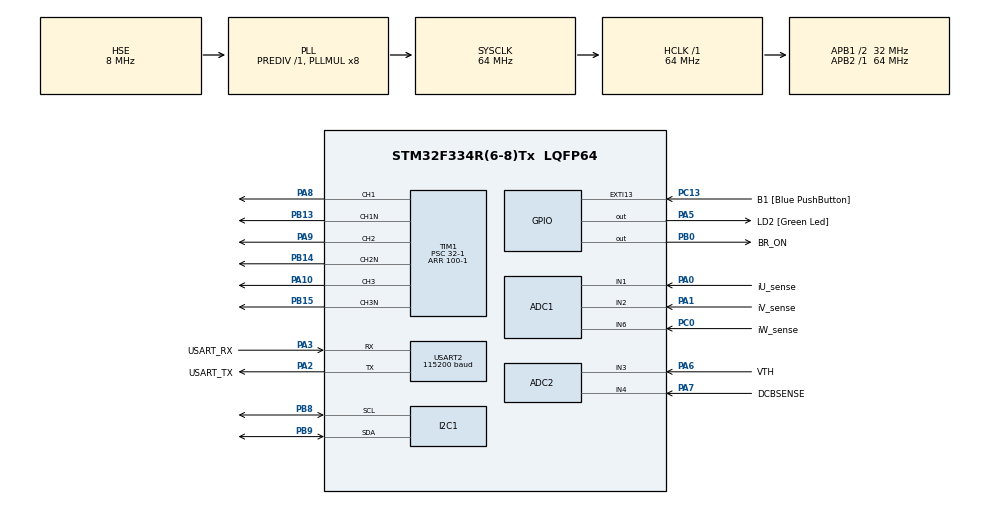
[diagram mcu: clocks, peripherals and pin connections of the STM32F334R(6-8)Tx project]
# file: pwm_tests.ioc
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ADC1.Channel-0\#ChannelRegularConversion=ADC_CHANNEL_1
ADC1.Channel-1\#ChannelRegularConversion=ADC_CHANNEL_2
ADC1.Channel-2\#ChannelRegularConversion=ADC_CHANNEL_6
ADC1.ClockPrescaler=ADC_CLOCK_SYNC_PCLK_DIV2
ADC1.ContinuousConvMode=ENABLE
ADC1.DMAContinuousRequests=ENABLE
ADC1.NbrOfConversion=3
ADC1.NbrOfConversionFlag=1
ADC1.Offset-0\#ChannelRegularConversion=0
ADC1.Offset-1\#ChannelRegularConversion=0
ADC1.Offset-2\#ChannelRegularConversion=0
ADC1.OffsetNumber-0\#ChannelRegularConversion=ADC_OFFSET_NONE
ADC1.OffsetNumber-1\#ChannelRegularConversion=ADC_OFFSET_NONE
ADC1.OffsetNumber-2\#ChannelRegularConversion=ADC_OFFSET_NONE
ADC1.Rank-0\#ChannelRegularConversion=1
ADC1.Rank-1\#ChannelRegularConversion=2
ADC1.Rank-2\#ChannelRegularConversion=3
ADC1.SamplingTime-0\#ChannelRegularConversion=ADC_SAMPLETIME_601CYCLES_5
ADC1.SamplingTime-1\#ChannelRegularConversion=ADC_SAMPLETIME_601CYCLES_5
ADC1.SamplingTime-2\#ChannelRegularConversion=ADC_SAMPLETIME_601CYCLES_5
ADC1.SequencerNbRanks=1
ADC1.SubFamily=STM32F334x8
ADC1.master=1
ADC2.Channel-1\#ChannelRegularConversion=ADC_CHANNEL_3
ADC2.Channel-2\#ChannelRegularConversion=ADC_CHANNEL_4
ADC2.ClockPrescaler=ADC_CLOCK_SYNC_PCLK_DIV2
ADC2.ContinuousConvMode=ENABLE
ADC2.DMAContinuousRequests=DISABLE
ADC2.NbrOfConversion=2
ADC2.NbrOfConversionFlag=1
ADC2.Offset-1\#ChannelRegularConversion=0
ADC2.Offset-2\#ChannelRegularConversion=0
ADC2.OffsetNumber-1\#ChannelRegularConversion=ADC_OFFSET_NONE
ADC2.OffsetNumber-2\#ChannelRegularConversion=ADC_OFFSET_NONE
ADC2.Rank-1\#ChannelRegularConversion=1
ADC2.Rank-2\#ChannelRegularConversion=2
ADC2.SamplingTime-1\#ChannelRegularConversion=ADC_SAMPLETIME_601CYCLES_5
ADC2.SamplingTime-2\#ChannelRegularConversion=ADC_SAMPLETIME_601CYCLES_5
ADC2.SamplingTimeOPAMP-2\#ChannelRegularConversion=ADC_SAMPLETIME_61CYCLES_5
ADC2.SubFamily=STM32F334x8
Dma.ADC1.3.Direction=DMA_PERIPH_TO_MEMORY
Dma.ADC1.3.Instance=DMA1_Channel1
Dma.ADC1.3.MemDataAlignment=DMA_MDATAALIGN_HALFWORD
Dma.ADC1.3.MemInc=DMA_MINC_ENABLE
Dma.ADC1.3.Mode=DMA_CIRCULAR
Dma.ADC1.3.PeriphDataAlignment=DMA_PDATAALIGN_HALFWORD
Dma.ADC1.3.PeriphInc=DMA_PINC_DISABLE
Dma.ADC1.3.Priority=DMA_PRIORITY_LOW
Dma.I2C1_RX.4.Direction=DMA_PERIPH_TO_MEMORY
Dma.I2C1_RX.4.Instance=DMA1_Channel5
Dma.I2C1_RX.4.MemDataAlignment=DMA_MDATAALIGN_BYTE
Dma.I2C1_RX.4.MemInc=DMA_MINC_ENABLE
Dma.I2C1_RX.4.Mode=DMA_NORMAL
Dma.I2C1_RX.4.PeriphDataAlignment=DMA_PDATAALIGN_BYTE
Dma.I2C1_RX.4.PeriphInc=DMA_PINC_DISABLE
Dma.I2C1_RX.4.Priority=DMA_PRIORITY_LOW
Dma.I2C1_TX.5.Direction=DMA_MEMORY_TO_PERIPH
Dma.I2C1_TX.5.Instance=DMA1_Channel4
Dma.I2C1_TX.5.MemDataAlignment=DMA_MDATAALIGN_BYTE
Dma.I2C1_TX.5.MemInc=DMA_MINC_ENABLE
Dma.I2C1_TX.5.Mode=DMA_NORMAL
Dma.I2C1_TX.5.PeriphDataAlignment=DMA_PDATAALIGN_BYTE
Dma.I2C1_TX.5.PeriphInc=DMA_PINC_DISABLE
Dma.I2C1_TX.5.Priority=DMA_PRIORITY_LOW
Dma.Request0=TIM1_CH1
Dma.Request1=TIM1_CH2
Dma.Request2=TIM1_CH3
Dma.Request3=ADC1
Dma.Request4=I2C1_RX
Dma.Request5=I2C1_TX
Dma.TIM1_CH1.0.Direction=DMA_MEMORY_TO_PERIPH
Dma.TIM1_CH1.0.Instance=DMA1_Channel2
Dma.TIM1_CH1.0.MemDataAlignment=DMA_MDATAALIGN_HALFWORD
Dma.TIM1_CH1.0.MemInc=DMA_MINC_ENABLE
Dma.TIM1_CH1.0.Mode=DMA_CIRCULAR
Dma.TIM1_CH1.0.PeriphDataAlignment=DMA_PDATAALIGN_HALFWORD
Dma.TIM1_CH1.0.PeriphInc=DMA_PINC_DISABLE
Dma.TIM1_CH1.0.Priority=DMA_PRIORITY_VERY_HIGH
Dma.TIM1_CH2.1.Direction=DMA_MEMORY_TO_PERIPH
Dma.TIM1_CH2.1.Instance=DMA1_Channel3
Dma.TIM1_CH2.1.MemDataAlignment=DMA_MDATAALIGN_HALFWORD
Dma.TIM1_CH2.1.MemInc=DMA_MINC_ENABLE
Dma.TIM1_CH2.1.Mode=DMA_CIRCULAR
Dma.TIM1_CH2.1.PeriphDataAlignment=DMA_PDATAALIGN_HALFWORD
Dma.TIM1_CH2.1.PeriphInc=DMA_PINC_DISABLE
Dma.TIM1_CH2.1.Priority=DMA_PRIORITY_VERY_HIGH
Dma.TIM1_CH3.2.Direction=DMA_MEMORY_TO_PERIPH
Dma.TIM1_CH3.2.Instance=DMA1_Channel6
Dma.TIM1_CH3.2.MemDataAlignment=DMA_MDATAALIGN_HALFWORD
Dma.TIM1_CH3.2.MemInc=DMA_MINC_ENABLE
Dma.TIM1_CH3.2.Mode=DMA_CIRCULAR
Dma.TIM1_CH3.2.PeriphDataAlignment=DMA_PDATAALIGN_HALFWORD
Dma.TIM1_CH3.2.PeriphInc=DMA_PINC_DISABLE
Dma.TIM1_CH3.2.Priority=DMA_PRIORITY_VERY_HIGH
I2C1.OwnAddress=0x07
Mcu.Family=STM32F3
Mcu.Name=STM32F334R(6-8)Tx
Mcu.Package=LQFP64
NVIC.DMA1_Channel1_IRQn=true\:0\:0\:false\:false\:true\:false\:true
NVIC.DMA1_Channel2_IRQn=true\:0\:0\:false\:false\:true\:false\:true
NVIC.DMA1_Channel3_IRQn=true\:0\:0\:false\:false\:true\:false\:true
NVIC.DMA1_Channel4_IRQn=true\:0\:0\:false\:false\:true\:false\:true
NVIC.DMA1_Channel5_IRQn=true\:0\:0\:false\:false\:true\:false\:true
NVIC.DMA1_Channel6_IRQn=true\:0\:0\:false\:false\:true\:false\:true
NVIC.FPU_IRQn=true\:0\:0\:false\:false\:true\:true\:false
NVIC.I2C1_EV_IRQn=true\:0\:0\:false\:false\:true\:true\:true
NVIC.PriorityGroup=NVIC_PRIORITYGROUP_0
PA0.GPIO_Label=iU_sense
PA0.Mode=IN1-Single-Ended
PA0.Signal=ADC1_IN1
PA1.GPIO_Label=iV_sense
PA1.Mode=IN2-Single-Ended
PA1.Signal=ADC1_IN2
PA10.Signal=S_TIM1_CH3
PA13.GPIO_Label=TMS
PA13.Mode=Serial_Wire
PA13.Signal=SYS_JTMS-SWDIO
PA14.GPIO_Label=TCK
PA14.Mode=Serial_Wire
PA14.Signal=SYS_JTCK-SWCLK
PA2.GPIO_Label=USART_TX
PA2.Mode=Asynchronous
PA2.Signal=USART2_TX
PA3.GPIO_Label=USART_RX
PA3.Mode=Asynchronous
PA3.Signal=USART2_RX
PA5.GPIO_Label=LD2 [Green Led]
PA5.Signal=GPIO_Output
PA6.GPIO_Label=VTH
PA6.Mode=IN3-Single-Ended
PA6.Signal=ADC2_IN3
PA7.GPIO_Label=DCBSENSE
PA7.Mode=IN4-Single-Ended
PA7.Signal=ADC2_IN4
PA8.Signal=S_TIM1_CH1
PA9.Signal=S_TIM1_CH2
PB0.GPIO_Label=BR_ON
PB0.GPIO_PuPd=GPIO_NOPULL
PB0.Signal=GPIO_Output
PB13.Mode=PWM Generation1 CH1 CH1N
PB13.Signal=TIM1_CH1N
PB14.Mode=PWM Generation2 CH2 CH2N
PB14.Signal=TIM1_CH2N
PB15.Mode=PWM Generation3 CH3 CH3N
PB15.Signal=TIM1_CH3N
PB3.GPIO_Label=SWO
PB3.Signal=SYS_JTDO-TRACESWO
PB8.Mode=I2C
PB8.Signal=I2C1_SCL
PB9.Mode=I2C
PB9.Signal=I2C1_SDA
PC0.GPIO_Label=iW_sense
PC0.Signal=ADCx_IN6
PC13.GPIO_Label=B1 [Blue PushButton]
PC13.GPIO_ModeDefaultEXTI=GPIO_MODE_IT_FALLING
PC13.Signal=GPXTI13
PC14\ /\ OSC32_IN.Mode=LSE-External-Clock-Source
PC14\ /\ OSC32_IN.Signal=RCC_OSC32_IN
PC15\ /\ OSC32_OUT.GPIO_Label=RCC_OSC32_OUT
PC15\ /\ OSC32_OUT.Signal=RCC_OSC32_OUT
PF0\ /\ OSC_IN.Mode=HSE-External-Oscillator
PF0\ /\ OSC_IN.Signal=RCC_OSC_IN
PF1\ /\ OSC_OUT.Mode=HSE-External-Oscillator
PF1\ /\ OSC_OUT.Signal=RCC_OSC_OUT
ProjectManager.HeapSize=0x200
ProjectManager.StackSize=0x400
ProjectManager.TargetToolchain=STM32CubeIDE
RCC.AHBFreq_Value=64000000
RCC.APB1CLKDivider=RCC_HCLK_DIV2
RCC.APB1Freq_Value=32000000
RCC.APB1TimFreq_Value=64000000
RCC.APB2Freq_Value=64000000
RCC.APB2TimFreq_Value=64000000
RCC.CortexFreq_Value=64000000
RCC.EnbaleCSS=true
RCC.FLatency-AdvancedSettings=FLASH_LATENCY_2
RCC.HCLKFreq_Value=64000000
RCC.HSE_VALUE=8000000
RCC.HSI_VALUE=8000000
RCC.LSE_VALUE=32768
RCC.PLLMUL=RCC_PLL_MUL8
RCC.PLLSourceVirtual=RCC_PLLSOURCE_HSE
RCC.SYSCLKFreq_VALUE=64000000
RCC.SYSCLKSourceVirtual=RCC_SYSCLKSOURCE_PLLCLK
SH.ADCx_IN6.0=ADC1_IN6,IN6-Single-Ended
SH.S_TIM1_CH1.0=TIM1_CH1,PWM Generation1 CH1 CH1N
SH.S_TIM1_CH2.0=TIM1_CH2,PWM Generation2 CH2 CH2N
SH.S_TIM1_CH3.0=TIM1_CH3,PWM Generation3 CH3 CH3N
TIM1.Channel-PWM\ Generation1\ CH1\ CH1N=TIM_CHANNEL_1
TIM1.Channel-PWM\ Generation2\ CH2\ CH2N=TIM_CHANNEL_2
TIM1.Channel-PWM\ Generation3\ CH3\ CH3N=TIM_CHANNEL_3
TIM1.Period=100-1
TIM1.Prescaler=32-1
USART2.BaudRate=115200
USART2.VirtualMode-Asynchronous=VM_ASYNC
VP_TIM1_VS_ClockSourceINT.Mode=Internal
board=NUCLEO-F334R8

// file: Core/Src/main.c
/* USER CODE BEGIN Header */
/**
  ******************************************************************************
  * @file           : main.c
  * @brief          : Main program body
  ******************************************************************************
  * @attention
  *
  * <h2><center>&copy; Copyright (c) 2021 STMicroelectronics.
  * All rights reserved.</center></h2>
  *
  * This software component is licensed by ST under BSD 3-Clause license,
  * the "License"; You may not use this file except in compliance with the
  * License. You may obtain a copy of the License at:
  *                        opensource.org/licenses/BSD-3-Clause
  *
  ******************************************************************************
  */
/* USER CODE END Header */
#include "main.h"

/* USER CODE BEGIN Includes */
#include <pwm_generator.h>
#include "state_control.h"
#include "slave_i2c.h"

#include <string.h>
#include <stdio.h>

/* USER CODE END Includes */

/* USER CODE BEGIN PD */
#define ADC_BUF_CURRSENSE_LEN 1000
#define ADC_BUF_DIAGS_LEN 100
#define ADC1_CHANNELS 3			//number of enabled channels ADC1
#define ADC2_CHANNELS 2			//number of enabled channels ADC2

#define iU_CHANNEL 0		//ADC1 - Rank1 buffer channel 1
#define iV_CHANNEL 1		//ADC1 - Rank2 buffer channel 2
#define iW_CHANNEL 2		//ADC1 - Rank3 buffer channel 6

#define VTH_CHANNEL 0		//ADC2 - Rank1 buffer channel 3
#define DCBSENSE_CHANNEL 1	//ADC2 - Rank2 buffer channel 4

/* USER CODE END PD */

ADC_HandleTypeDef hadc1;
ADC_HandleTypeDef hadc2;
DMA_HandleTypeDef hdma_adc1;

I2C_HandleTypeDef hi2c1;
DMA_HandleTypeDef hdma_i2c1_rx;
DMA_HandleTypeDef hdma_i2c1_tx;

TIM_HandleTypeDef htim1;
DMA_HandleTypeDef hdma_tim1_ch1;
DMA_HandleTypeDef hdma_tim1_ch2;
DMA_HandleTypeDef hdma_tim1_ch3;

UART_HandleTypeDef huart2;

/* USER CODE BEGIN PV */

uint16_t pmw_1_data[10];
uint16_t pmw_2_data[10];

uint16_t adc1_buffer[ADC1_CHANNELS * ADC_BUF_CURRSENSE_LEN];
uint16_t adc2_buffer[ADC2_CHANNELS * ADC_BUF_DIAGS_LEN];

uint16_t iU, iV, iW = 0;
uint16_t VTH, DCBSENSE = 0;

uint8_t i2c_data2receive[16];
uint8_t i2c_data2send[16];

uint8_t buffer[32];
uint8_t data2receive[16];
uint8_t data2send[16];

/* USER CODE END PV */

void SystemClock_Config(void);
static void MX_GPIO_Init(void);
static void MX_USART2_UART_Init(void);
static void MX_DMA_Init(void);
static void MX_TIM1_Init(void);
static void MX_ADC1_Init(void);
static void MX_ADC2_Init(void);
static void MX_I2C1_Init(void);

int main(void)
{

  /* MCU Configuration--------------------------------------------------------*/

  /* Reset of all peripherals, Initializes the Flash interface and the Systick. */
  HAL_Init();

  /* Configure the system clock */
  SystemClock_Config();

  /* Initialize all configured peripherals */
  MX_GPIO_Init();
  MX_USART2_UART_Init();
  MX_DMA_Init();
  MX_TIM1_Init();
  MX_ADC1_Init();
  MX_ADC2_Init();
  MX_I2C1_Init();
  /* USER CODE BEGIN 2 */

//  HAL_GPIO_WritePin(GPIOC, GPIO_PIN_6, GPIO_PIN_SET);

  //Sent init msg uart
  strcpy((char*)buffer, "INIT PWM CONTROLLER\r\n");
  HAL_UART_Transmit(&huart2, buffer, strlen((char*)buffer), HAL_MAX_DELAY);

  /* NORMAL PWM timer start		BEGIN */
//	HAL_TIM_PWM_Start_IT(&htim1, TIM_CHANNEL_1);
//	HAL_TIM_PWM_Start_IT(&htim1, TIM_CHANNEL_2);
//	HAL_TIM_PWM_Start_IT(&htim1, TIM_CHANNEL_3);
//	HAL_TIMEx_PWMN_Start_IT(&htim1, TIM_CHANNEL_1);
//	HAL_TIMEx_PWMN_Start_IT(&htim1, TIM_CHANNEL_2);
//	HAL_TIMEx_PWMN_Start_IT(&htim1, TIM_CHANNEL_3);

//	TIM1->CCR1 = 40;
//	TIM1->CCR2 = 60;
//	TIM1->CCR3 = 80;
  /* NORMAL PWM timer start		END */

  /*DMA PWM setup
   * 1 - fill up PWM array
   * 2 - start the TIM-DMA-PWM --> primary output
   * 3 - start the TIM-PWM --> complementary output */

  //fill up PWM arrays
  get_LUT();

  //Start DMA conversion - current sense
  HAL_ADC_Start_DMA(&hadc1, (uint32_t*)adc1_buffer, (ADC1_CHANNELS * ADC_BUF_CURRSENSE_LEN));

  //Start DMA conversion - diagnostics
//  HAL_ADC_Start_DMA(&hadc2, (uint32_t*)adc2_buffer, (ADC2_CHANNELS * ADC_BUF_DIAGS_LEN));

  //Start listening I2C through DMA
  if(HAL_I2C_Slave_Receive_DMA(&hi2c1, i2c_data2receive, 2) != HAL_OK){
	  //report error
	  Error_Handler();
  }

  HAL_GPIO_WritePin(BR_ON_GPIO_Port, BR_ON_Pin, GPIO_PIN_RESET);

//  HAL_TIM_PWM_Start_DMA(&htim1, TIM_CHANNEL_1, (uint32_t *)LUT_B1, LUTLEN);
//  HAL_TIM_PWM_Start_DMA(&htim1, TIM_CHANNEL_2, (uint32_t *)LUT_B2, LUTLEN);
//  HAL_TIM_PWM_Start_DMA(&htim1, TIM_CHANNEL_3, (uint32_t *)LUT_B3, LUTLEN);
//
//  HAL_TIMEx_PWMN_Start(&htim1, TIM_CHANNEL_1);
//  HAL_TIMEx_PWMN_Start(&htim1, TIM_CHANNEL_2);
//  HAL_TIMEx_PWMN_Start(&htim1, TIM_CHANNEL_3);

  /* USER CODE END 2 */

  /* Infinite loop */
  while (1)
  {

    /* USER CODE BEGIN 3 */

	  //Run state machine
	  HAL_Delay(100);
	  run_motor_control_stmachine();

//	  if (GPIO_PIN_SET == HAL_GPIO_ReadPin(GPIOC, GPIO_PIN_8))
//	  {
//		  Run_Motor();
//
//	  }
//
//	  else
//	  {
//		  Stop_Motor();
//	  }
//	  HAL_Delay(100);
//

  }
  /* USER CODE END 3 */
}

void SystemClock_Config(void)
{
  RCC_OscInitTypeDef RCC_OscInitStruct = {0};
  RCC_ClkInitTypeDef RCC_ClkInitStruct = {0};
  RCC_PeriphCLKInitTypeDef PeriphClkInit = {0};

  /** Initializes the RCC Oscillators according to the specified parameters
  * in the RCC_OscInitTypeDef structure.
  */
  RCC_OscInitStruct.OscillatorType = RCC_OSCILLATORTYPE_HSI|RCC_OSCILLATORTYPE_HSE;
  RCC_OscInitStruct.HSEState = RCC_HSE_ON;
  RCC_OscInitStruct.HSEPredivValue = RCC_HSE_PREDIV_DIV1;
  RCC_OscInitStruct.HSIState = RCC_HSI_ON;
  RCC_OscInitStruct.HSICalibrationValue = RCC_HSICALIBRATION_DEFAULT;
  RCC_OscInitStruct.PLL.PLLState = RCC_PLL_ON;
  RCC_OscInitStruct.PLL.PLLSource = RCC_PLLSOURCE_HSE;
  RCC_OscInitStruct.PLL.PLLMUL = RCC_PLL_MUL8;
  if (HAL_RCC_OscConfig(&RCC_OscInitStruct) != HAL_OK)
  {
    Error_Handler();
  }
  /** Initializes the CPU, AHB and APB buses clocks
  */
  RCC_ClkInitStruct.ClockType = RCC_CLOCKTYPE_HCLK|RCC_CLOCKTYPE_SYSCLK
                              |RCC_CLOCKTYPE_PCLK1|RCC_CLOCKTYPE_PCLK2;
  RCC_ClkInitStruct.SYSCLKSource = RCC_SYSCLKSOURCE_PLLCLK;
  RCC_ClkInitStruct.AHBCLKDivider = RCC_SYSCLK_DIV1;
  RCC_ClkInitStruct.APB1CLKDivider = RCC_HCLK_DIV2;
  RCC_ClkInitStruct.APB2CLKDivider = RCC_HCLK_DIV1;

  if (HAL_RCC_ClockConfig(&RCC_ClkInitStruct, FLASH_LATENCY_2) != HAL_OK)
  {
    Error_Handler();
  }
  PeriphClkInit.PeriphClockSelection = RCC_PERIPHCLK_I2C1|RCC_PERIPHCLK_TIM1;
  PeriphClkInit.I2c1ClockSelection = RCC_I2C1CLKSOURCE_HSI;
  PeriphClkInit.Tim1ClockSelection = RCC_TIM1CLK_HCLK;
  if (HAL_RCCEx_PeriphCLKConfig(&PeriphClkInit) != HAL_OK)
  {
    Error_Handler();
  }
  /** Enables the Clock Security System
  */
  HAL_RCC_EnableCSS();
}

static void MX_ADC1_Init(void)
{

  ADC_MultiModeTypeDef multimode = {0};
  ADC_ChannelConfTypeDef sConfig = {0};

  /** Common config
  */
  hadc1.Instance = ADC1;
  hadc1.Init.ClockPrescaler = ADC_CLOCK_SYNC_PCLK_DIV2;
  hadc1.Init.Resolution = ADC_RESOLUTION_12B;
  hadc1.Init.ScanConvMode = ADC_SCAN_ENABLE;
  hadc1.Init.ContinuousConvMode = ENABLE;
  hadc1.Init.DiscontinuousConvMode = DISABLE;
  hadc1.Init.ExternalTrigConvEdge = ADC_EXTERNALTRIGCONVEDGE_NONE;
  hadc1.Init.ExternalTrigConv = ADC_SOFTWARE_START;
  hadc1.Init.DataAlign = ADC_DATAALIGN_RIGHT;
  hadc1.Init.NbrOfConversion = 3;
  hadc1.Init.DMAContinuousRequests = ENABLE;
  hadc1.Init.EOCSelection = ADC_EOC_SINGLE_CONV;
  hadc1.Init.LowPowerAutoWait = DISABLE;
  hadc1.Init.Overrun = ADC_OVR_DATA_OVERWRITTEN;
  if (HAL_ADC_Init(&hadc1) != HAL_OK)
  {
    Error_Handler();
  }
  /** Configure the ADC multi-mode
  */
  multimode.Mode = ADC_MODE_INDEPENDENT;
  if (HAL_ADCEx_MultiModeConfigChannel(&hadc1, &multimode) != HAL_OK)
  {
    Error_Handler();
  }
  /** Configure Regular Channel
  */
  sConfig.Channel = ADC_CHANNEL_1;
  sConfig.Rank = ADC_REGULAR_RANK_1;
  sConfig.SingleDiff = ADC_SINGLE_ENDED;
  sConfig.SamplingTime = ADC_SAMPLETIME_601CYCLES_5;
  sConfig.OffsetNumber = ADC_OFFSET_NONE;
  sConfig.Offset = 0;
  if (HAL_ADC_ConfigChannel(&hadc1, &sConfig) != HAL_OK)
  {
    Error_Handler();
  }
  /** Configure Regular Channel
  */
  sConfig.Channel = ADC_CHANNEL_2;
  sConfig.Rank = ADC_REGULAR_RANK_2;
  if (HAL_ADC_ConfigChannel(&hadc1, &sConfig) != HAL_OK)
  {
    Error_Handler();
  }
  /** Configure Regular Channel
  */
  sConfig.Channel = ADC_CHANNEL_6;
  sConfig.Rank = ADC_REGULAR_RANK_3;
  if (HAL_ADC_ConfigChannel(&hadc1, &sConfig) != HAL_OK)
  {
    Error_Handler();
  }

}

static void MX_ADC2_Init(void)
{

  ADC_ChannelConfTypeDef sConfig = {0};

  /** Common config
  */
  hadc2.Instance = ADC2;
  hadc2.Init.ClockPrescaler = ADC_CLOCK_SYNC_PCLK_DIV2;
  hadc2.Init.Resolution = ADC_RESOLUTION_12B;
  hadc2.Init.ScanConvMode = ADC_SCAN_ENABLE;
  hadc2.Init.ContinuousConvMode = ENABLE;
  hadc2.Init.DiscontinuousConvMode = DISABLE;
  hadc2.Init.ExternalTrigConvEdge = ADC_EXTERNALTRIGCONVEDGE_NONE;
  hadc2.Init.ExternalTrigConv = ADC_SOFTWARE_START;
  hadc2.Init.DataAlign = ADC_DATAALIGN_RIGHT;
  hadc2.Init.NbrOfConversion = 2;
  hadc2.Init.DMAContinuousRequests = DISABLE;
  hadc2.Init.EOCSelection = ADC_EOC_SINGLE_CONV;
  hadc2.Init.LowPowerAutoWait = DISABLE;
  hadc2.Init.Overrun = ADC_OVR_DATA_OVERWRITTEN;
  if (HAL_ADC_Init(&hadc2) != HAL_OK)
  {
    Error_Handler();
  }
  /** Configure Regular Channel
  */
  sConfig.Channel = ADC_CHANNEL_3;
  sConfig.Rank = ADC_REGULAR_RANK_1;
  sConfig.SingleDiff = ADC_SINGLE_ENDED;
  sConfig.SamplingTime = ADC_SAMPLETIME_601CYCLES_5;
  sConfig.OffsetNumber = ADC_OFFSET_NONE;
  sConfig.Offset = 0;
  if (HAL_ADC_ConfigChannel(&hadc2, &sConfig) != HAL_OK)
  {
    Error_Handler();
  }
  /** Configure Regular Channel
  */
  sConfig.Channel = ADC_CHANNEL_4;
  sConfig.Rank = ADC_REGULAR_RANK_2;
  if (HAL_ADC_ConfigChannel(&hadc2, &sConfig) != HAL_OK)
  {
    Error_Handler();
  }

}

static void MX_I2C1_Init(void)
{

  hi2c1.Instance = I2C1;
  hi2c1.Init.Timing = 0x2000090E;
  hi2c1.Init.OwnAddress1 = 14;
  hi2c1.Init.AddressingMode = I2C_ADDRESSINGMODE_7BIT;
  hi2c1.Init.DualAddressMode = I2C_DUALADDRESS_DISABLE;
  hi2c1.Init.OwnAddress2 = 0;
  hi2c1.Init.OwnAddress2Masks = I2C_OA2_NOMASK;
  hi2c1.Init.GeneralCallMode = I2C_GENERALCALL_DISABLE;
  hi2c1.Init.NoStretchMode = I2C_NOSTRETCH_DISABLE;
  if (HAL_I2C_Init(&hi2c1) != HAL_OK)
  {
    Error_Handler();
  }
  /** Configure Analogue filter
  */
  if (HAL_I2CEx_ConfigAnalogFilter(&hi2c1, I2C_ANALOGFILTER_ENABLE) != HAL_OK)
  {
    Error_Handler();
  }
  /** Configure Digital filter
  */
  if (HAL_I2CEx_ConfigDigitalFilter(&hi2c1, 0) != HAL_OK)
  {
    Error_Handler();
  }

}

static void MX_TIM1_Init(void)
{

  TIM_ClockConfigTypeDef sClockSourceConfig = {0};
  TIM_MasterConfigTypeDef sMasterConfig = {0};
  TIM_OC_InitTypeDef sConfigOC = {0};
  TIM_BreakDeadTimeConfigTypeDef sBreakDeadTimeConfig = {0};

  htim1.Instance = TIM1;
  htim1.Init.Prescaler = 32-1;
  htim1.Init.CounterMode = TIM_COUNTERMODE_UP;
  htim1.Init.Period = 100-1;
  htim1.Init.ClockDivision = TIM_CLOCKDIVISION_DIV1;
  htim1.Init.RepetitionCounter = 0;
  htim1.Init.AutoReloadPreload = TIM_AUTORELOAD_PRELOAD_DISABLE;
  if (HAL_TIM_Base_Init(&htim1) != HAL_OK)
  {
    Error_Handler();
  }
  sClockSourceConfig.ClockSource = TIM_CLOCKSOURCE_INTERNAL;
  if (HAL_TIM_ConfigClockSource(&htim1, &sClockSourceConfig) != HAL_OK)
  {
    Error_Handler();
  }
  if (HAL_TIM_PWM_Init(&htim1) != HAL_OK)
  {
    Error_Handler();
  }
  sMasterConfig.MasterOutputTrigger = TIM_TRGO_RESET;
  sMasterConfig.MasterOutputTrigger2 = TIM_TRGO2_RESET;
  sMasterConfig.MasterSlaveMode = TIM_MASTERSLAVEMODE_DISABLE;
  if (HAL_TIMEx_MasterConfigSynchronization(&htim1, &sMasterConfig) != HAL_OK)
  {
    Error_Handler();
  }
  sConfigOC.OCMode = TIM_OCMODE_PWM1;
  sConfigOC.Pulse = 0;
  sConfigOC.OCPolarity = TIM_OCPOLARITY_HIGH;
  sConfigOC.OCNPolarity = TIM_OCNPOLARITY_HIGH;
  sConfigOC.OCFastMode = TIM_OCFAST_DISABLE;
  sConfigOC.OCIdleState = TIM_OCIDLESTATE_RESET;
  sConfigOC.OCNIdleState = TIM_OCNIDLESTATE_RESET;
  if (HAL_TIM_PWM_ConfigChannel(&htim1, &sConfigOC, TIM_CHANNEL_1) != HAL_OK)
  {
    Error_Handler();
  }
  if (HAL_TIM_PWM_ConfigChannel(&htim1, &sConfigOC, TIM_CHANNEL_2) != HAL_OK)
  {
    Error_Handler();
  }
  if (HAL_TIM_PWM_ConfigChannel(&htim1, &sConfigOC, TIM_CHANNEL_3) != HAL_OK)
  {
    Error_Handler();
  }
  sBreakDeadTimeConfig.OffStateRunMode = TIM_OSSR_DISABLE;
  sBreakDeadTimeConfig.OffStateIDLEMode = TIM_OSSI_DISABLE;
  sBreakDeadTimeConfig.LockLevel = TIM_LOCKLEVEL_OFF;
  sBreakDeadTimeConfig.DeadTime = 0;
  sBreakDeadTimeConfig.BreakState = TIM_BREAK_DISABLE;
  sBreakDeadTimeConfig.BreakPolarity = TIM_BREAKPOLARITY_HIGH;
  sBreakDeadTimeConfig.BreakFilter = 0;
  sBreakDeadTimeConfig.Break2State = TIM_BREAK2_DISABLE;
  sBreakDeadTimeConfig.Break2Polarity = TIM_BREAK2POLARITY_HIGH;
  sBreakDeadTimeConfig.Break2Filter = 0;
  sBreakDeadTimeConfig.AutomaticOutput = TIM_AUTOMATICOUTPUT_DISABLE;
  if (HAL_TIMEx_ConfigBreakDeadTime(&htim1, &sBreakDeadTimeConfig) != HAL_OK)
  {
    Error_Handler();
  }
  HAL_TIM_MspPostInit(&htim1);

}

static void MX_USART2_UART_Init(void)
{

  huart2.Instance = USART2;
  huart2.Init.BaudRate = 115200;
  huart2.Init.WordLength = UART_WORDLENGTH_8B;
  huart2.Init.StopBits = UART_STOPBITS_1;
  huart2.Init.Parity = UART_PARITY_NONE;
  huart2.Init.Mode = UART_MODE_TX_RX;
  huart2.Init.HwFlowCtl = UART_HWCONTROL_NONE;
  huart2.Init.OverSampling = UART_OVERSAMPLING_16;
  huart2.Init.OneBitSampling = UART_ONE_BIT_SAMPLE_DISABLE;
  huart2.AdvancedInit.AdvFeatureInit = UART_ADVFEATURE_NO_INIT;
  if (HAL_UART_Init(&huart2) != HAL_OK)
  {
    Error_Handler();
  }

}

static void MX_DMA_Init(void)
{

  /* DMA controller clock enable */
  __HAL_RCC_DMA1_CLK_ENABLE();

  /* DMA interrupt init */
  /* DMA1_Channel1_IRQn interrupt configuration */
  HAL_NVIC_SetPriority(DMA1_Channel1_IRQn, 0, 0);
  HAL_NVIC_EnableIRQ(DMA1_Channel1_IRQn);
  /* DMA1_Channel2_IRQn interrupt configuration */
  HAL_NVIC_SetPriority(DMA1_Channel2_IRQn, 0, 0);
  HAL_NVIC_EnableIRQ(DMA1_Channel2_IRQn);
  /* DMA1_Channel3_IRQn interrupt configuration */
  HAL_NVIC_SetPriority(DMA1_Channel3_IRQn, 0, 0);
  HAL_NVIC_EnableIRQ(DMA1_Channel3_IRQn);
  /* DMA1_Channel4_IRQn interrupt configuration */
  HAL_NVIC_SetPriority(DMA1_Channel4_IRQn, 0, 0);
  HAL_NVIC_EnableIRQ(DMA1_Channel4_IRQn);
  /* DMA1_Channel5_IRQn interrupt configuration */
  HAL_NVIC_SetPriority(DMA1_Channel5_IRQn, 0, 0);
  HAL_NVIC_EnableIRQ(DMA1_Channel5_IRQn);
  /* DMA1_Channel6_IRQn interrupt configuration */
  HAL_NVIC_SetPriority(DMA1_Channel6_IRQn, 0, 0);
  HAL_NVIC_EnableIRQ(DMA1_Channel6_IRQn);

}

static void MX_GPIO_Init(void)
{
  GPIO_InitTypeDef GPIO_InitStruct = {0};

  /* GPIO Ports Clock Enable */
  __HAL_RCC_GPIOC_CLK_ENABLE();
  __HAL_RCC_GPIOF_CLK_ENABLE();
  __HAL_RCC_GPIOA_CLK_ENABLE();
  __HAL_RCC_GPIOB_CLK_ENABLE();

  /*Configure GPIO pin Output Level */
  HAL_GPIO_WritePin(LD2_GPIO_Port, LD2_Pin, GPIO_PIN_RESET);

  /*Configure GPIO pin Output Level */
  HAL_GPIO_WritePin(BR_ON_GPIO_Port, BR_ON_Pin, GPIO_PIN_RESET);

  /*Configure GPIO pin : B1_Pin */
  GPIO_InitStruct.Pin = B1_Pin;
  GPIO_InitStruct.Mode = GPIO_MODE_IT_FALLING;
  GPIO_InitStruct.Pull = GPIO_NOPULL;
  HAL_GPIO_Init(B1_GPIO_Port, &GPIO_InitStruct);

  /*Configure GPIO pin : LD2_Pin */
  GPIO_InitStruct.Pin = LD2_Pin;
  GPIO_InitStruct.Mode = GPIO_MODE_OUTPUT_PP;
  GPIO_InitStruct.Pull = GPIO_NOPULL;
  GPIO_InitStruct.Speed = GPIO_SPEED_FREQ_LOW;
  HAL_GPIO_Init(LD2_GPIO_Port, &GPIO_InitStruct);

  /*Configure GPIO pin : BR_ON_Pin */
  GPIO_InitStruct.Pin = BR_ON_Pin;
  GPIO_InitStruct.Mode = GPIO_MODE_OUTPUT_PP;
  GPIO_InitStruct.Pull = GPIO_NOPULL;
  GPIO_InitStruct.Speed = GPIO_SPEED_FREQ_LOW;
  HAL_GPIO_Init(BR_ON_GPIO_Port, &GPIO_InitStruct);

}

/* USER CODE BEGIN 4 */

void Run_Motor(void){

	HAL_TIM_PWM_Start_DMA(&htim1, TIM_CHANNEL_1, (uint32_t *)LUT_B1, LUTLEN);
	HAL_TIM_PWM_Start_DMA(&htim1, TIM_CHANNEL_2, (uint32_t *)LUT_B2, LUTLEN);
	HAL_TIM_PWM_Start_DMA(&htim1, TIM_CHANNEL_3, (uint32_t *)LUT_B3, LUTLEN);

	HAL_TIMEx_PWMN_Start(&htim1, TIM_CHANNEL_1);
	HAL_TIMEx_PWMN_Start(&htim1, TIM_CHANNEL_2);
	HAL_TIMEx_PWMN_Start(&htim1, TIM_CHANNEL_3);

	HAL_GPIO_TogglePin(GPIOA, GPIO_PIN_5);

}
void Stop_Motor(void){
	HAL_TIM_PWM_Stop_DMA(&htim1, TIM_CHANNEL_1);
	HAL_TIM_PWM_Stop_DMA(&htim1, TIM_CHANNEL_2);
	HAL_TIM_PWM_Stop_DMA(&htim1, TIM_CHANNEL_3);

	HAL_TIMEx_PWMN_Stop(&htim1, TIM_CHANNEL_1);
	HAL_TIMEx_PWMN_Stop(&htim1, TIM_CHANNEL_2);
	HAL_TIMEx_PWMN_Stop(&htim1, TIM_CHANNEL_3);

	HAL_GPIO_WritePin(GPIOA, GPIO_PIN_5, GPIO_PIN_RESET);

}
//executed when the ADC buffer is complete
void HAL_ADC_ConvCpltCallback(ADC_HandleTypeDef* hadc)
{
	//identify channel 1
	if(hadc->Instance == ADC1)
	{

		uint32_t sum_buffer_adc1[ADC1_CHANNELS]={0};

		for(int i = 0 ; i<ADC_BUF_CURRSENSE_LEN;i++)
		{
			for(int j = 0 ; j<ADC1_CHANNELS;j++)
			{
				sum_buffer_adc1[j] += adc1_buffer[j + (i*ADC1_CHANNELS)];
			}
		}

		iU = sum_buffer_adc1[iU_CHANNEL] / ADC_BUF_CURRSENSE_LEN;
		iV = sum_buffer_adc1[iV_CHANNEL] / ADC_BUF_CURRSENSE_LEN;
		iW = sum_buffer_adc1[iW_CHANNEL] / ADC_BUF_CURRSENSE_LEN;

//	}else if (hadc->Instance == ADC2) {
//
//		uint32_t sum_buffer_adc2[ADC2_CHANNELS]={0};
//
//		for(int i = 0 ; i<ADC_BUF_DIAGS_LEN;i++)
//		{
//			for(int j = 0 ; j<ADC2_CHANNELS;j++)
//			{
//				sum_buffer_adc2[j] += adc2_buffer[j + (i*ADC2_CHANNELS)];
//			}
//		}
//
//		VTH = sum_buffer_adc2[VTH_CHANNEL] / ADC_BUF_DIAGS_LEN;
//		DCBSENSE = sum_buffer_adc2[DCBSENSE_CHANNEL] / ADC_BUF_DIAGS_LEN;
//
//
	}
}

/**
 * I2C Rx complete
 * callback will be executed when a read has completed
 */
void HAL_I2C_SlaveRxCpltCallback(I2C_HandleTypeDef *hi2c){
	//I2C Receive done!!!
	//once the receive is done, try to identify the master request

	switch (i2c_data2receive[0]) {
		case READ_STATE:
			i2c_data2send[0] = READ_STATE;
			i2c_data2send[1] = cur_state;
			break;
		case REQUEST_MOTOR_START:
			b_request_start = true;
			i2c_data2send[0] = REQUEST_MOTOR_START;
			i2c_data2send[1] = 0x00;
			break;
		case REQUEST_MOTOR_STOP:
			b_request_stop = true;
			i2c_data2send[0] = REQUEST_MOTOR_STOP;
			i2c_data2send[1] = 0x00;
			break;
		case ACK_ERROR_RESET:
			i2c_data2send[0] = ACK_ERROR_RESET;
			i2c_data2send[1] = 0x00;
			break;
		case READ_ERROR_NR:
			i2c_data2send[0] = READ_ERROR_NR;
			i2c_data2send[1] = 0x00; //error nr
			break;
		default:
			//Wrong request or not available
			i2c_data2send[0] = 0xFF;
			i2c_data2send[1] = 0xFF;
			break;
	}

	//once the request is identified and the corresponding answer is assigned, transmit the answer.
	if(HAL_I2C_Slave_Transmit_DMA(&hi2c1, i2c_data2send, 2) != HAL_OK){
	  //report error
	  Error_Handler();
	}
}

/**
 * I2C Tx complete
 * callback will be executed when a write has completed
 */
void HAL_I2C_SlaveTxCpltCallback(I2C_HandleTypeDef *hi2c){
	//I2C Transmit done!!!
	//once the transmit is done, wait for the next request (read)
	if(HAL_I2C_Slave_Receive_DMA(&hi2c1, i2c_data2receive, 2) != HAL_OK){
	  //report error
	  Error_Handler();
	}
}

/* USER CODE END 4 */

void Error_Handler(void)
{
  /* USER CODE BEGIN Error_Handler_Debug */
  /* User can add his own implementation to report the HAL error return state */

//  __disable_irq();
//  while (1)
//  {
//  }
//	HAL_I2C_Slave_Receive_DMA(&hi2c1, i2c_data2receive, 2);

  /* USER CODE END Error_Handler_Debug */
}

/************************ (C) COPYRIGHT STMicroelectronics *****END OF FILE****/
